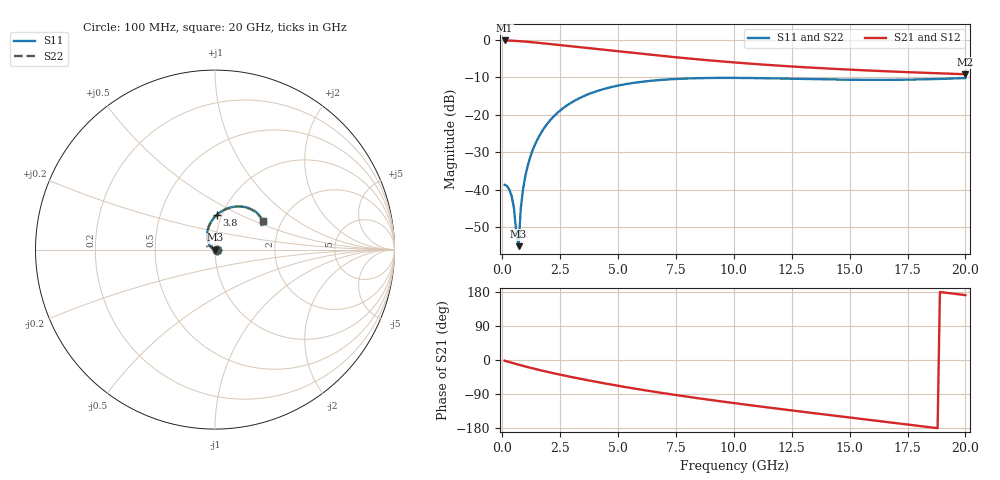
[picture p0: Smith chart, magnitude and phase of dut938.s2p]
! Touchstone file exported from HFSS 2024.1.0
!  File:  C:/UserFiles/LocalFiles/RDL_TSV_Batchsim/temp_RDL_TSV_938_1779962147.aedt
!  Generated:  06:11:09 PM May 28, 2026
!  Design:  RDL_TSV
!  Project:  temp_RDL_TSV_938_1779962147
!  Setup:  Setup1
!  Solution:  Sweep
! Variables:
!  dtsv = 13.25um
!  hbump = 3um
!  htsv = 64.51um
!  ldown = 296.22um
!  lrdl = 458.16um
!  p = 40
!  p1 = 58.1um
!  rhole = 10um
!  subl = 2721.3um
!  t = 450um
!  tdown = 3.82um
!  trdl = 3.63um
!  viad = 10um
!  wdown = 19.62um
!  wrdl = 25.35um
!  xbump = 18um
# GHz S MA R 50.000000
! Terminal data exported
! Port[1] = TM1_1_T1
! Port[2] = TM1_4_T1
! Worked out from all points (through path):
!   200 points, 100 MHz to 20 GHz, reference 50 ohm
!   highest |S21| = -0.11 dB at 100 MHz (marker M1); lowest = -9.1 dB at 20 GHz (marker M2)
!   group delay of S21, straight-line fit = 24.5 ps
!   lowest |S11| = -55.0 dB at 700 MHz (marker M3), VSWR 1.00, Z = 49.8 - j0.0792 ohm
!   |S11| at or under -10 dB: start of sweep to end of sweep
!   |S22| runs from -55.1 to -10.1 dB; largest |S21 - S12| = 1.5e-14
!   S11 on the Smith chart (normalised r, x): 100 MHz: 1.02, -0.00; 3.8 GHz: 0.95, +0.38; 20 GHz: 1.60, +0.57
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0.1  0.01169 -1.4  0.9876 -1.8  0.9876 -1.8  0.01169 -1.4
! Gamma 0 0 0 0
! Port Impedance 50 0 50 0
0.3  0.01015 -8.4  0.9834 -5.4  0.9834 -5.4  0.01016 -8.4
0.4  0.008338 -13.9  0.9805 -7.2  0.9805 -7.2  0.008346 -13.9
0.5  0.005834 -21.7  0.977 -8.9  0.977 -8.9  0.005847 -21.7
0.6  0.002796 -39.8  0.973 -10.6  0.973 -10.6  0.002814 -39.6
0.7  0.001769 -153.3  0.9686 -12.3  0.9686 -12.3  0.001751 -152.7
0.8  0.005703 171.2  0.9638 -13.9  0.9638 -13.9  0.005669 171.2
0.9  0.01041 161.8  0.9586 -15.6  0.9586 -15.6  0.01036 161.8
1.1  0.02109 151.4  0.9472 -18.8  0.9472 -18.8  0.02102 151.4
1.4  0.03939 140.3  0.9285 -23.4  0.9285 -23.4  0.03929 140.3
1.8  0.06626 128.2  0.902 -29.2  0.902 -29.2  0.06611 128.2
2.2  0.09407 117.9  0.8754 -34.8  0.8754 -34.8  0.09386 117.8
2.8  0.1346 104.6  0.8364 -42.6  0.8364 -42.6  0.1343 104.6
3.5  0.1773 91.9  0.7931 -51.1  0.7931 -51.1  0.1769 91.8
3.8  0.1936 87.0  0.7752 -54.7  0.7752 -54.7  0.1932 87.0
5.1  0.2501 69.7  0.702 -69.1  0.702 -69.1  0.2494 69.7
6.8  0.2925 53.4  0.6186 -86.1  0.6186 -86.1  0.2917 53.4
8.4  0.3093 42.7  0.5542 -100.4  0.5542 -100.4  0.3083 42.7
10.1  0.3123 35.0  0.5001 -114.5  0.5001 -114.5  0.3112 35.0
13.4  0.3007 28.0  0.4272 -139.9  0.4272 -139.9  0.2994 28.0
16.7  0.2943 28.3  0.3814 -164.4  0.3814 -164.4  0.2932 28.4
20  0.3108 31.0  0.3494 171.2  0.3494 171.2  0.3099 31.1
